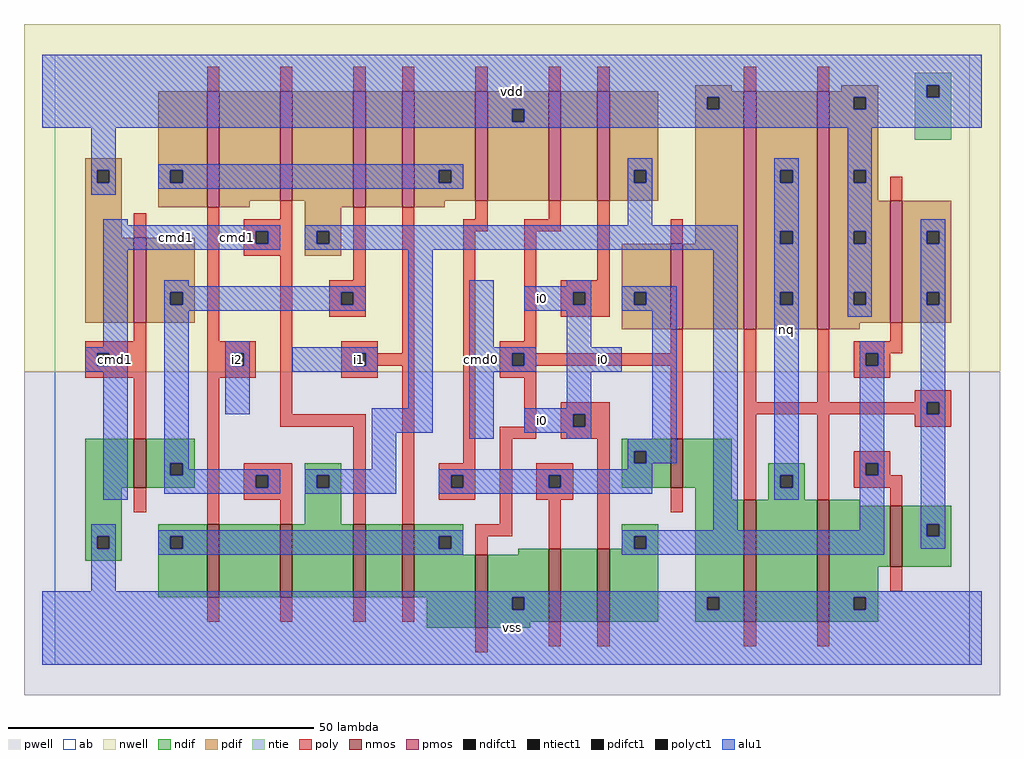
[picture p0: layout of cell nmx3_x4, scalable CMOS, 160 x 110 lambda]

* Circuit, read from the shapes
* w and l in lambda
.subckt nmx3_x4 cmd0 cmd1 i0 i1 i2 nq vdd vss
M1 n1 cmd1 vss VSUBS nfet w=8 l=2
M2 n2 i2 n3 VSUBS nfet w=12 l=2
M3 n4 n1 n2 VSUBS nfet w=12 l=2
M4 n5 cmd1 n4 VSUBS nfet w=12 l=2
M5 n3 i1 n5 VSUBS nfet w=12 l=2
M6 vss cmd0 n3 VSUBS nfet w=12 l=2
M7 n6 n7 vss VSUBS nfet w=12 l=2
M8 n4 i0 n6 VSUBS nfet w=12 l=2
M9 vss cmd0 n7 VSUBS nfet w=8 l=2
M10 nq n8 vss VSUBS nfet w=20 l=2 m=2
M11 n8 n4 vss VSUBS nfet w=10 l=2
M12 n1 cmd1 vdd vdd pfet w=14 l=2
M13 n9 i2 n10 vdd pfet w=19 l=2
M14 n4 cmd1 n9 vdd pfet w=18 l=2
M15 n11 n1 n4 vdd pfet w=19 l=2
M16 n10 i1 n11 vdd pfet w=19 l=2
M17 vdd n7 n10 vdd pfet w=18 l=2
M18 n12 cmd0 vdd vdd pfet w=18 l=2
M19 n4 i0 n12 vdd pfet w=18 l=2
M20 vdd cmd0 n7 vdd pfet w=14 l=2
M21 nq n8 vdd vdd pfet w=39 l=2 m=2
M22 n8 n4 vdd vdd pfet w=20 l=2
.ends

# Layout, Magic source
magic
tech scmos
<< ab >>
rect 0 0 150 100
<< nwell >>
rect -5 48 155 105
<< pwell >>
rect -5 -5 155 48
<< poly >>
rect 25 94 27 98
rect 37 94 39 98
rect 49 94 51 98
rect 57 94 59 98
rect 69 94 71 98
rect 81 94 83 98
rect 89 94 91 98
rect 113 94 115 98
rect 125 94 127 98
rect 13 70 15 74
rect 13 53 15 56
rect 5 51 15 53
rect 5 49 7 51
rect 9 49 15 51
rect 5 47 15 49
rect 13 37 15 47
rect 25 53 27 75
rect 37 73 39 76
rect 31 71 39 73
rect 31 69 33 71
rect 35 69 39 71
rect 31 67 39 69
rect 25 51 33 53
rect 25 49 29 51
rect 31 49 33 51
rect 25 47 33 49
rect 13 25 15 29
rect 25 23 27 47
rect 37 41 39 67
rect 49 63 51 75
rect 45 61 51 63
rect 45 59 47 61
rect 49 59 51 61
rect 45 57 51 59
rect 47 51 53 53
rect 57 51 59 75
rect 69 73 71 76
rect 81 73 83 76
rect 47 49 49 51
rect 51 49 59 51
rect 47 47 53 49
rect 37 39 51 41
rect 31 31 39 33
rect 31 29 33 31
rect 35 29 39 31
rect 31 27 39 29
rect 37 23 39 27
rect 49 23 51 39
rect 57 23 59 49
rect 67 71 71 73
rect 77 71 83 73
rect 67 33 69 71
rect 77 53 79 71
rect 89 63 91 76
rect 101 69 103 73
rect 83 61 91 63
rect 83 59 85 61
rect 87 59 91 61
rect 83 57 91 59
rect 137 76 139 80
rect 73 51 79 53
rect 101 51 103 55
rect 73 49 75 51
rect 77 49 103 51
rect 73 47 79 49
rect 77 39 79 47
rect 63 31 69 33
rect 63 29 65 31
rect 67 29 69 31
rect 63 27 69 29
rect 73 37 79 39
rect 83 41 91 43
rect 83 39 85 41
rect 87 39 91 41
rect 83 37 91 39
rect 101 37 103 49
rect 113 43 115 55
rect 125 43 127 55
rect 137 53 139 56
rect 131 51 139 53
rect 131 49 133 51
rect 135 49 137 51
rect 131 47 137 49
rect 141 43 147 45
rect 113 41 143 43
rect 145 41 147 43
rect 73 23 75 37
rect 79 31 85 33
rect 79 29 81 31
rect 83 29 85 31
rect 79 27 85 29
rect 69 21 75 23
rect 69 18 71 21
rect 81 19 83 27
rect 89 19 91 37
rect 101 25 103 29
rect 113 27 115 41
rect 125 27 127 41
rect 141 39 147 41
rect 131 33 137 35
rect 131 31 133 33
rect 135 31 137 33
rect 131 29 139 31
rect 25 7 27 11
rect 37 7 39 11
rect 49 7 51 11
rect 57 7 59 11
rect 137 26 139 29
rect 137 12 139 16
rect 69 2 71 6
rect 81 3 83 7
rect 89 3 91 7
rect 113 3 115 7
rect 125 3 127 7
<< ndif >>
rect 5 29 13 37
rect 15 33 23 37
rect 15 31 19 33
rect 21 31 23 33
rect 15 29 23 31
rect 5 21 11 29
rect 41 31 47 33
rect 41 29 43 31
rect 45 29 47 31
rect 41 23 47 29
rect 5 19 7 21
rect 9 19 11 21
rect 5 17 11 19
rect 17 21 25 23
rect 17 19 19 21
rect 21 19 25 21
rect 17 11 25 19
rect 27 11 37 23
rect 39 11 49 23
rect 51 11 57 23
rect 59 21 67 23
rect 59 19 63 21
rect 65 19 67 21
rect 59 18 67 19
rect 93 35 101 37
rect 93 33 95 35
rect 97 33 101 35
rect 93 29 101 33
rect 103 29 111 37
rect 105 27 111 29
rect 117 31 123 33
rect 117 29 119 31
rect 121 29 123 31
rect 117 27 123 29
rect 93 21 99 23
rect 93 19 95 21
rect 97 19 99 21
rect 76 18 81 19
rect 59 11 69 18
rect 61 6 69 11
rect 71 11 81 18
rect 71 9 75 11
rect 77 9 81 11
rect 71 7 81 9
rect 83 7 89 19
rect 91 7 99 19
rect 105 11 113 27
rect 105 9 107 11
rect 109 9 113 11
rect 105 7 113 9
rect 115 7 125 27
rect 127 26 132 27
rect 127 16 137 26
rect 139 23 147 26
rect 139 21 143 23
rect 145 21 147 23
rect 139 16 147 21
rect 127 11 135 16
rect 127 9 131 11
rect 133 9 135 11
rect 127 7 135 9
rect 71 6 78 7
<< pdif >>
rect 105 94 111 95
rect 129 94 135 95
rect 5 81 11 83
rect 5 79 7 81
rect 9 79 11 81
rect 5 70 11 79
rect 17 81 25 94
rect 17 79 19 81
rect 21 79 25 81
rect 17 75 25 79
rect 27 76 37 94
rect 39 76 49 94
rect 27 75 32 76
rect 5 56 13 70
rect 15 61 23 70
rect 15 59 19 61
rect 21 59 23 61
rect 15 56 23 59
rect 41 75 49 76
rect 51 75 57 94
rect 59 81 69 94
rect 59 79 63 81
rect 65 79 69 81
rect 59 76 69 79
rect 71 91 81 94
rect 71 89 75 91
rect 77 89 81 91
rect 71 76 81 89
rect 83 76 89 94
rect 91 81 99 94
rect 91 79 95 81
rect 97 79 99 81
rect 91 76 99 79
rect 105 93 113 94
rect 105 91 107 93
rect 109 91 113 93
rect 59 75 64 76
rect 41 71 47 75
rect 41 69 43 71
rect 45 69 47 71
rect 41 67 47 69
rect 105 69 113 91
rect 93 61 101 69
rect 93 59 95 61
rect 97 59 101 61
rect 93 55 101 59
rect 103 55 113 69
rect 115 81 125 94
rect 115 79 119 81
rect 121 79 125 81
rect 115 71 125 79
rect 115 69 119 71
rect 121 69 125 71
rect 115 61 125 69
rect 115 59 119 61
rect 121 59 125 61
rect 115 55 125 59
rect 127 93 135 94
rect 127 91 131 93
rect 133 91 135 93
rect 127 81 135 91
rect 127 79 131 81
rect 133 79 135 81
rect 127 76 135 79
rect 127 71 137 76
rect 127 69 131 71
rect 133 69 137 71
rect 127 61 137 69
rect 127 59 131 61
rect 133 59 137 61
rect 127 56 137 59
rect 139 71 147 76
rect 139 69 143 71
rect 145 69 147 71
rect 139 61 147 69
rect 139 59 143 61
rect 145 59 147 61
rect 139 56 147 59
rect 127 55 132 56
<< alu1 >>
rect -2 95 152 100
rect -2 93 143 95
rect 145 93 152 95
rect -2 91 107 93
rect 109 91 131 93
rect 133 91 152 93
rect -2 89 75 91
rect 77 89 152 91
rect -2 88 152 89
rect 6 81 10 88
rect 6 79 7 81
rect 9 79 10 81
rect 6 77 10 79
rect 17 81 67 82
rect 17 79 19 81
rect 21 79 63 81
rect 65 79 67 81
rect 17 78 67 79
rect 94 81 98 83
rect 94 79 95 81
rect 97 79 98 81
rect 8 72 12 73
rect 94 72 98 79
rect 118 81 122 83
rect 118 79 119 81
rect 121 79 122 81
rect 8 71 37 72
rect 8 69 33 71
rect 35 69 37 71
rect 8 68 37 69
rect 41 71 112 72
rect 41 69 43 71
rect 45 69 112 71
rect 41 68 112 69
rect 8 52 12 68
rect 5 51 12 52
rect 5 49 7 51
rect 9 49 12 51
rect 5 48 12 49
rect 8 27 12 48
rect 18 62 22 63
rect 18 61 51 62
rect 18 59 19 61
rect 21 59 47 61
rect 49 59 51 61
rect 18 58 51 59
rect 18 33 22 58
rect 28 51 32 53
rect 28 49 29 51
rect 31 49 32 51
rect 28 41 32 49
rect 39 51 53 52
rect 39 49 49 51
rect 51 49 53 51
rect 39 48 53 49
rect 58 42 62 68
rect 18 31 19 33
rect 21 32 22 33
rect 52 38 62 42
rect 68 52 72 63
rect 84 62 88 63
rect 77 61 88 62
rect 77 59 85 61
rect 87 59 88 61
rect 77 58 88 59
rect 93 61 102 62
rect 93 59 95 61
rect 97 59 102 61
rect 93 58 102 59
rect 84 52 88 58
rect 68 51 79 52
rect 68 49 75 51
rect 77 49 79 51
rect 68 48 79 49
rect 84 48 93 52
rect 52 32 56 38
rect 68 37 72 48
rect 84 42 88 48
rect 77 41 88 42
rect 77 39 85 41
rect 87 39 88 41
rect 77 38 88 39
rect 84 37 88 38
rect 98 37 102 58
rect 94 35 102 37
rect 94 33 95 35
rect 97 33 102 35
rect 94 32 98 33
rect 21 31 37 32
rect 18 29 33 31
rect 35 29 37 31
rect 18 28 37 29
rect 41 31 56 32
rect 41 29 43 31
rect 45 29 56 31
rect 41 28 56 29
rect 63 31 98 32
rect 63 29 65 31
rect 67 29 81 31
rect 83 29 98 31
rect 63 28 98 29
rect 6 21 10 23
rect 108 22 112 68
rect 118 71 122 79
rect 118 69 119 71
rect 121 69 122 71
rect 118 61 122 69
rect 118 59 119 61
rect 121 59 122 61
rect 118 31 122 59
rect 130 81 134 88
rect 130 79 131 81
rect 133 79 134 81
rect 130 71 134 79
rect 130 69 131 71
rect 133 69 134 71
rect 130 61 134 69
rect 130 59 131 61
rect 133 59 134 61
rect 130 57 134 59
rect 142 71 146 73
rect 142 69 143 71
rect 145 69 146 71
rect 142 61 146 69
rect 142 59 143 61
rect 145 59 146 61
rect 118 29 119 31
rect 121 29 122 31
rect 118 27 122 29
rect 132 51 136 53
rect 132 49 133 51
rect 135 49 136 51
rect 132 33 136 49
rect 132 31 133 33
rect 135 31 136 33
rect 132 22 136 31
rect 6 19 7 21
rect 9 19 10 21
rect 6 12 10 19
rect 17 21 67 22
rect 17 19 19 21
rect 21 19 63 21
rect 65 19 67 21
rect 17 18 67 19
rect 93 21 136 22
rect 93 19 95 21
rect 97 19 136 21
rect 142 43 146 59
rect 142 41 143 43
rect 145 41 146 43
rect 142 23 146 41
rect 142 21 143 23
rect 145 21 146 23
rect 142 19 146 21
rect 93 18 136 19
rect -2 11 152 12
rect -2 9 75 11
rect 77 9 107 11
rect 109 9 131 11
rect 133 9 152 11
rect -2 0 152 9
<< ntie >>
rect 141 95 147 97
rect 141 93 143 95
rect 145 93 147 95
rect 141 86 147 93
<< nmos >>
rect 13 29 15 37
rect 25 11 27 23
rect 37 11 39 23
rect 49 11 51 23
rect 57 11 59 23
rect 101 29 103 37
rect 69 6 71 18
rect 81 7 83 19
rect 89 7 91 19
rect 113 7 115 27
rect 125 7 127 27
rect 137 16 139 26
<< pmos >>
rect 25 75 27 94
rect 37 76 39 94
rect 13 56 15 70
rect 49 75 51 94
rect 57 75 59 94
rect 69 76 71 94
rect 81 76 83 94
rect 89 76 91 94
rect 101 55 103 69
rect 113 55 115 94
rect 125 55 127 94
rect 137 56 139 76
<< polyct1 >>
rect 7 49 9 51
rect 33 69 35 71
rect 29 49 31 51
rect 47 59 49 61
rect 49 49 51 51
rect 33 29 35 31
rect 85 59 87 61
rect 75 49 77 51
rect 65 29 67 31
rect 85 39 87 41
rect 133 49 135 51
rect 143 41 145 43
rect 81 29 83 31
rect 133 31 135 33
<< ndifct1 >>
rect 19 31 21 33
rect 43 29 45 31
rect 7 19 9 21
rect 19 19 21 21
rect 63 19 65 21
rect 95 33 97 35
rect 119 29 121 31
rect 95 19 97 21
rect 75 9 77 11
rect 107 9 109 11
rect 143 21 145 23
rect 131 9 133 11
<< ntiect1 >>
rect 143 93 145 95
<< pdifct1 >>
rect 7 79 9 81
rect 19 79 21 81
rect 19 59 21 61
rect 63 79 65 81
rect 75 89 77 91
rect 95 79 97 81
rect 107 91 109 93
rect 43 69 45 71
rect 95 59 97 61
rect 119 79 121 81
rect 119 69 121 71
rect 119 59 121 61
rect 131 91 133 93
rect 131 79 133 81
rect 131 69 133 71
rect 131 59 133 61
rect 143 69 145 71
rect 143 59 145 61
<< labels >>
rlabel alu1 10 50 10 50 6 cmd1
rlabel polyct1 30 50 30 50 6 i2
rlabel alu1 30 70 30 70 6 cmd1
rlabel alu1 20 70 20 70 6 cmd1
rlabel polyct1 50 50 50 50 6 i1
rlabel alu1 70 50 70 50 6 cmd0
rlabel alu1 75 6 75 6 6 vss
rlabel alu1 80 40 80 40 6 i0
rlabel alu1 90 50 90 50 6 i0
rlabel alu1 80 60 80 60 6 i0
rlabel alu1 75 94 75 94 6 vdd
rlabel alu1 120 55 120 55 6 nq
<< end >>
